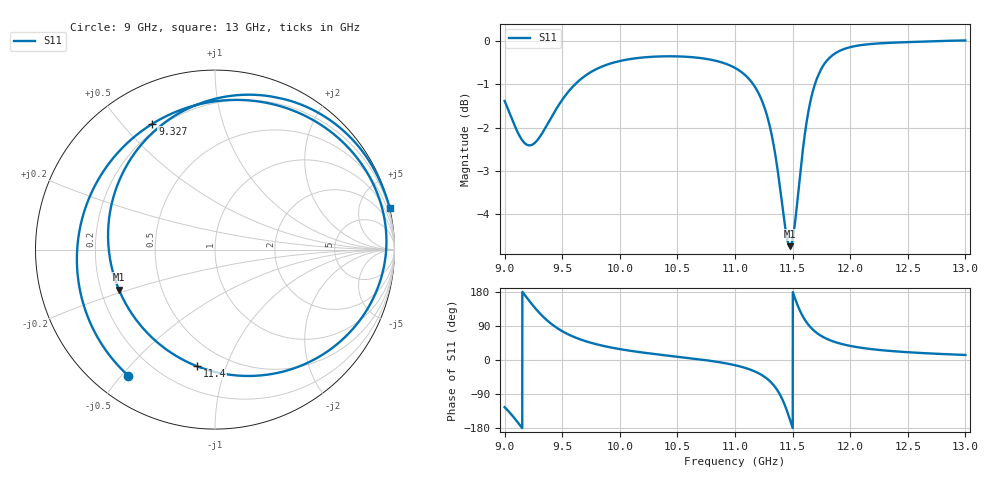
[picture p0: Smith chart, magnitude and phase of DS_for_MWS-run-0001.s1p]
! TOUCHSTONE file generated by CST DESIGN STUDIO
! Date and time: Tue Feb  4 15:51:58 2025
! Project name: C:\Work\MatlabApps\UnitCellOptimizationMatlab\CST\unitcell.cst
! Tree item: Tasks\Sweep1\SPara1\S-Parameters
! Header version: 2024
! Port assignment regex: !\s*Touchstone port\s*([0-9]+)\s*=\s*(CST MWS port|CST DES external port|CST DES block port)\s*(.+)\s* \(\"(.*)\"\)(\s*mode\s*([0-9]+))?.*
! Touchstone port assignment:
! Touchstone port 1 = CST DES external port 1 ("")
# GHz S MA R 50
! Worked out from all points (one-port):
!   4001 points, 9 GHz to 13 GHz, reference 50 ohm
!   lowest |S11| = -4.7 dB at 11.48 GHz (marker M1), VSWR 3.76, Z = 13.8 - j9.24 ohm
!   |S11| at or under -10 dB: nowhere
!   S11 on the Smith chart (normalised r, x): 9 GHz: 0.10, -0.52; 9.327 GHz: 0.17, +0.61; 11.4 GHz: 0.35, -0.80; 13 GHz: -0.03, +8.59
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9  0.8525 -124.5
9.09  0.797 -155.2
9.158  0.7665 178.2
9.248  0.7602 143.1
9.327  0.7829 116.5
9.406  0.8163 95.2
9.5  0.8549 76.1
9.714  0.9141 48.6
10  0.9477 28.7
10.5  0.9594 8.7
11  0.9305 -13.7
11.142  0.8969 -26.4
11.245  0.8456 -42.1
11.325  0.7714 -62.8
11.403  0.6575 -98.7
11.439  0.605 -124.2
11.477  0.58 -157.4
11.5  0.5907 -178.9
11.535  0.6413 150.9
11.576  0.7235 122.4
11.61  0.787 104.4
11.648  0.8433 89.1
11.715  0.9073 70.3
11.792  0.9467 56.5
11.883  0.9695 46.0
12  0.9831 37.2
12.5  0.9964 20.5
13  1.001 13.3
